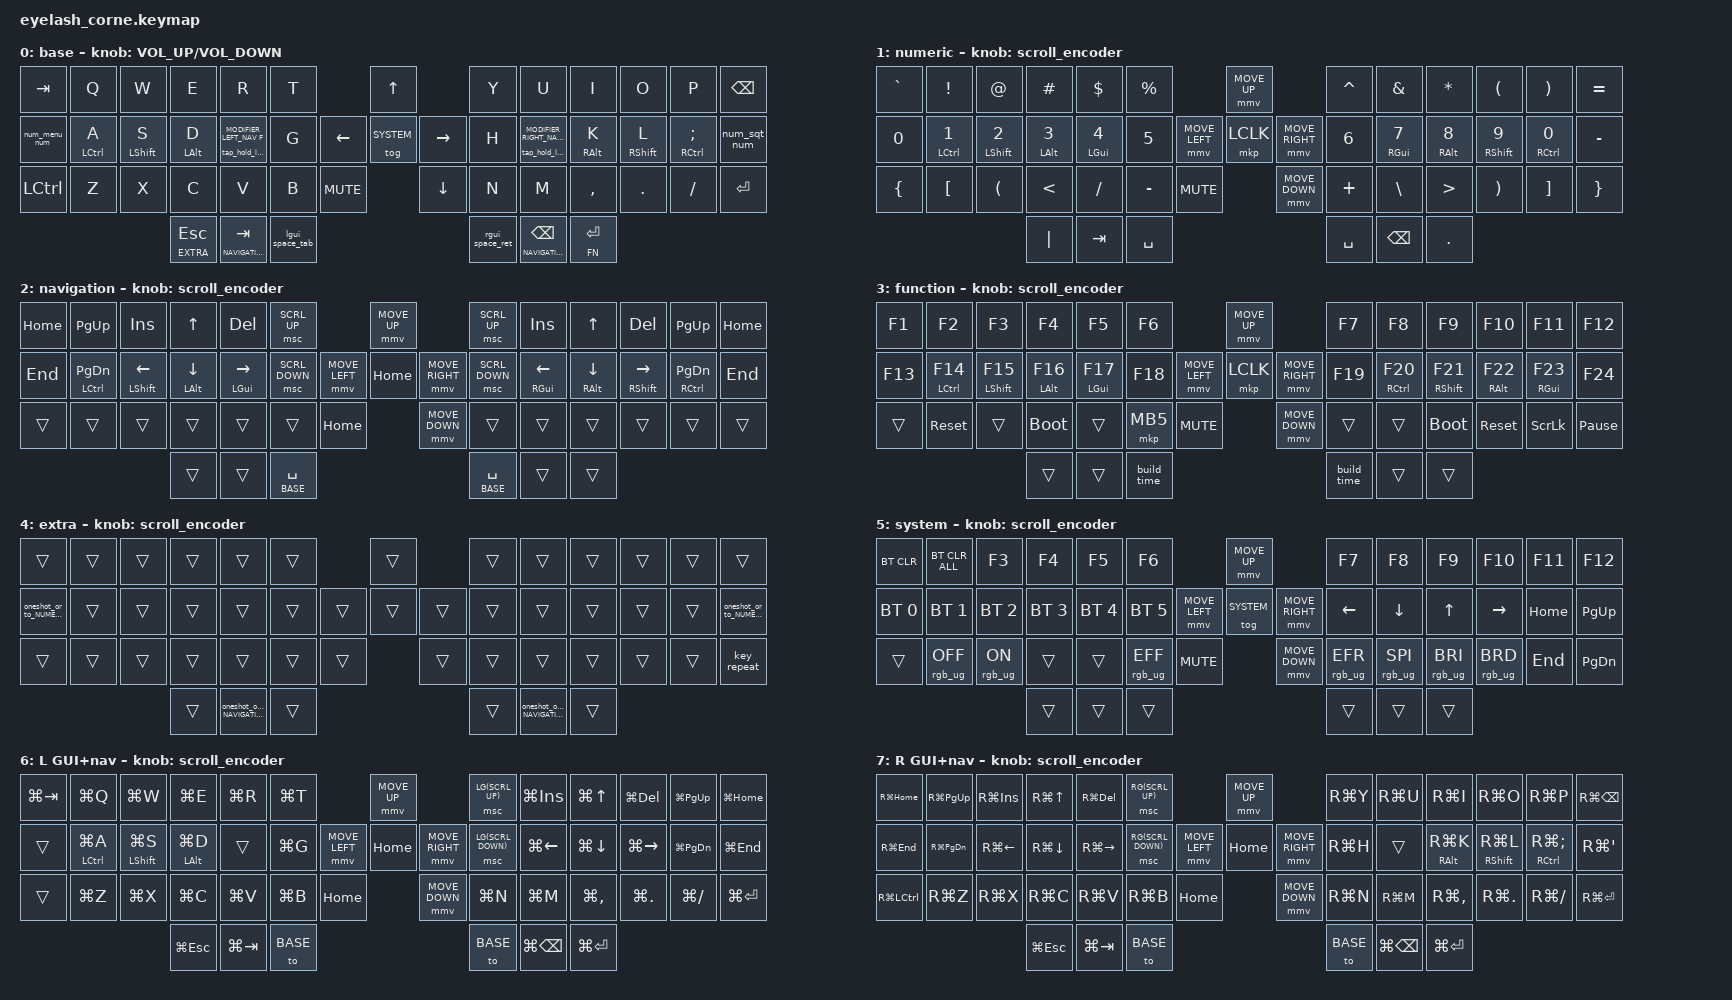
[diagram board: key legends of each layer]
/*

TODO:

* investigate leader-key use

* try finessing timings for tap/hold/doubletap to see if it can be made non-annoying

* make layer switch combos toggle between base and the other layer?

* holding backspace for repeating (backspaces) doesn't work

* how to specify actions for turning the encoder on a particular layer

* how to specify bluetooth-related functionality

* how to specify underglow-related functionality

* how to illuminate the RGB LED for a specific key

* can i rearrange the layer definitions to remove the encoder and d-pad from their current positions and place them underneath? (it's confusing to have them in the middle)

key numbers

 0  1  2  3  4  5          6       7  8  9 10 11 12
13 14 15 16 17 18      19 20 21   22 23 24 25 26 27
28 29 30 31 32 33   34    35      36 37 38 39 40 41
         42 43 44                 45 46 47


 0  1  2  3  4  5          6       7  8  9 10 11 12
    q  w  e  r  t                  y  u  i  o  p  '

13 14 15 16 17 18      19 20 21   22 23 24 25 26 27
    a  s  d  f  g                  h  j  k  l  ;  '

28 29 30 31 32 33   34    35      36 37 38 39 40 41
    z  x  c  v  b                  n  m  ,  .  /

         42 43 44                 45 46 47

*/

#include <behaviors.dtsi>
#include <dt-bindings/zmk/bt.h>
#include <dt-bindings/zmk/keys.h>
#include <dt-bindings/zmk/mouse.h>
#include <dt-bindings/zmk/outputs.h>
#include <dt-bindings/zmk/rgb.h>

// No need for tap-hold-layer header with specialized behaviors


#include <input/processors.dtsi>

#define BASE 0
#define NUMERIC 1
#define NAVIGATION 2
#define FN 3
#define EXTRA 4
#define SYSTEM 5
#define MODIFIER_LEFT_NAV 6
#define MODIFIER_RIGHT_NAV 7

// short versions for helping things line up
#define NUM NUMERIC
#define NAV NAVIGATION
#define LGUI_NAV_L MODIFIER_LEFT_NAV
#define RGUI_NAV_R MODIFIER_RIGHT_NAV
#define MENU K_APPLICATION


#define HRM_TIMEOUT 400
#define TAP_TIMEOUT 50
#define FAST_TAP 230		// at 200, the double tap actions do not reliably trigger
#define INTERRUPT_TAP 50        // very short window, for interrupting tap dance
#define CHORD_TIMEOUT 50
#define LONG_PAUSE 600		// e.g. before certain combos. 800 is too long

/*

   &mmv_input_listener {
       input-processors = <&zip_xy_scaler 2 1>;
   };

   &msc_input_listener {
       input-processors = <&zip_xy_scaler 2 1>;
   };

 */

#define ZMK_MOUSE_DEFAULT_MOVE_VAL 1200  // 600
#define ZMK_MOUSE_DEFAULT_SCRL_VAL 20    // 10

#include "build_info.dtsi"
//#include "tap-hold-layer.dtsi"

&lt {
    tapping-term-ms = <150>;
    quick-tap-ms = <150>;
    flavor = "tap-preferred";
};

/ {
  macros {
      #include "layer-mod-macros.dtsi"
      #include "emoji.dtsi"
  };
};




/ {
    behaviors {

        hm: homerow_mods {
            compatible = "zmk,behavior-hold-tap";
	    #binding-cells = <2>;
 	    tapping-term-ms = <280>; // 200 is too low
	    quick-tap-ms = <175>;
	    require-prior-idle-ms = <150>; // 100 is too low
	    flavor = "balanced";
	    bindings = <&kp>, <&kp>;
	};

	#include "tap-hold-layer-behaviors.dtsi"
	#include "modifier-tap-doubletap-behaviors.dtsi"

	// hold LGUI, tap for space, double tap for tab
        lgui_space_tab: lgui_space_tab {
            compatible = "zmk,behavior-tap-dance";
            label = "LGUI_SPACE_TAB";
            #binding-cells = <0>;
            tapping-term-ms = <FAST_TAP>;
            bindings = <&ht_mod_kp LGUI SPACE>, <&kp TAB>;
        };

	// hold RGUI, tap for space, double tap for return
        rgui_space_ret: rgui_space_ret {
            compatible = "zmk,behavior-tap-dance";
            label = "RGUI_SPACE_RET";
            #binding-cells = <0>;
            tapping-term-ms = <FAST_TAP>;
            bindings = <&ht_mod_kp RGUI SPACE>, <&kp RET>;
        };

        lt_simple: lt_simple {
            compatible = "zmk,behavior-hold-tap";
            #binding-cells = <2>;
            tapping-term-ms = <120>; // 200 too long
            quick-tap-ms = <175>;
            require-prior-idle-ms = <100>;
            flavor = "balanced";
            bindings = <&mo>, <&kp>;
        };
        LTS: LTS { // alias for lt_simple but it would be great if there were a better way to define it as such.
            compatible = "zmk,behavior-hold-tap";
            #binding-cells = <2>;
            tapping-term-ms = <200>;
            quick-tap-ms = <175>;
            require-prior-idle-ms = <100>;
            flavor = "balanced";
            bindings = <&mo>, <&kp>;
        };

        num_menu_num: num_menu_num {
            compatible = "zmk,behavior-tap-dance";
            #binding-cells = <0>;
            tapping-term-ms = <200>;
            bindings = <&lt_simple NUMERIC MENU>, <&sl NUMERIC>;
        };

        num_sqt_num: num_sqt_num {
            compatible = "zmk,behavior-tap-dance";
            #binding-cells = <0>;
            tapping-term-ms = <200>;             // Reduced from 250
            bindings = <&lt_simple NUMERIC SQT>, <&sl NUMERIC>;
        };

        // Alternative: Use hold-tap with global-quick-tap for even faster response
        lt_global_quick: lt_global_quick {
            compatible = "zmk,behavior-hold-tap";
            #binding-cells = <2>;
            tapping-term-ms = <120>;
            quick-tap-ms = <120>;
            global-quick-tap;                    // Any key press triggers quick-tap
            flavor = "tap-preferred";
            bindings = <&mo>, <&kp>;
        };
    };

/* incomplete definition but should have basics for changing underglow while momentarily in a layer.
   ideally would save/restore preexisting underglow color.
   
    mo_rgb: mo_rgb {
        wait-ms = <0>;
 	tap-ms = <0>;
	bindings
	    = <&macro_press &mo 1>
	        , <&macro_tap &rgb_ug RGB_COLOR_HSB(128,100,100)>
		, <&macro_pause_for_release>
		, <&macro_release &mo 1>
		, <&macro_tap &rgb_ug RGB_COLOR_HSB(300,100,50)>
	;
    ;

   there should also be a way of entering emoji via macros here. check https://zmk.dev/docs/keymaps/behaviors/macros

*/

    /* Using tap_hold_layer_lgui directly in the keymap instead of a custom f_key behavior */

    rgb_encoder: rgb_encoder {
        compatible = "zmk,behavior-sensor-rotate";
        #sensor-binding-cells = <0>;
        bindings = <&rgb_ug RGB_BRI>, <&rgb_ug RGB_BRD>;
    };

    scroll_encoder: scroll_encoder {
        compatible = "zmk,behavior-sensor-rotate";
        #sensor-binding-cells = <0>;
        bindings = <&msc SCRL_DOWN>, <&msc SCRL_UP>;
        tap-ms = <30>;
    };


// TODO: add helpers to make this easier to read/set up/verify
    combos {
        compatible = "zmk,combos";
        
        // bootloader with far left column
        combo_bootloader_left {
                timeout-ms = <CHORD_TIMEOUT>;
                key-positions = <0 13 28>;
                bindings = <&bootloader>;
		require-prior-idle-ms = <LONG_PAUSE>;
        };
        // bootloader with far right column
        combo_bootloader_right {
                timeout-ms = <CHORD_TIMEOUT>;
                key-positions = <12 27 41>;
                bindings = <&bootloader>;
		require-prior-idle-ms = <LONG_PAUSE>;
        };


        // ESC with tab+q
        combo_esc {
            timeout-ms = <CHORD_TIMEOUT>;
            key-positions = <0 1>;
            bindings = <&kp ESC>;
 	    require-prior-idle-ms = <LONG_PAUSE>;
        };

	// numeric with outer middle row keys: caps and comma
        combo_numeric {
            timeout-ms = <CHORD_TIMEOUT>;
            key-positions = <13 27>;
            bindings = <&to NUMERIC>;
	    require-prior-idle-ms = <LONG_PAUSE>;
        };

	// navigation with second thumb keys
        combo_nav {
            timeout-ms = <CHORD_TIMEOUT>;
            key-positions = <43 46>;
            bindings = <&to NAVIGATION>;
	    require-prior-idle-ms = <LONG_PAUSE>;
        };

	// base layer with inner thumb keys
        combo_base {
            timeout-ms = <CHORD_TIMEOUT>;
            key-positions = <44 45>;
            bindings = <&to BASE>;
	    require-prior-idle-ms = <LONG_PAUSE>;
        };

	// --------------------------------------------------------------------------------
	// ONE-SHOT MODIFIERS


        // One-shot modifiers with dual key presses
        oneshot_ctrl {
            timeout-ms = <CHORD_TIMEOUT>;
            key-positions = <14 26>;
            bindings = <&sk LCTRL>;
	    require-prior-idle-ms = <LONG_PAUSE>;
        };

        oneshot_alt {
            timeout-ms = <CHORD_TIMEOUT>;
            key-positions = <16 24>;
            bindings = <&sk LALT>;
	    require-prior-idle-ms = <LONG_PAUSE>;
        };

        oneshot_gui {
            timeout-ms = <CHORD_TIMEOUT>;
            key-positions = <17 23>;  // todo: change this to thumb keys
            bindings = <&sk LGUI>;
	    require-prior-idle-ms = <LONG_PAUSE>;
        };

        // Caps word with s+l
        combo_caps_word {
            timeout-ms = <CHORD_TIMEOUT>;
            key-positions = <15 25>;
            bindings = <&caps_word>;
	    require-prior-idle-ms = <LONG_PAUSE>;
        };

        // Print screen (which i use for screenshot) — lower left two keys
        combo_print {
            timeout-ms = <CHORD_TIMEOUT>;
            key-positions = <28 29>;
            bindings = <&kp PRINTSCREEN>;
	    require-prior-idle-ms = <LONG_PAUSE>;
        };
    };

    keymap {
        compatible = "zmk,keymap";

        base_layer {
            display-name = "base";
            bindings = <

&kp TAB       &kp Q        &kp W         &kp E       &kp R                              &kp T			     &kp UP                  &kp Y  &kp U                              &kp I       &kp O         &kp P           &kp BSPC
&num_menu_num  &hm LCTRL A  &hm LSHIFT S  &hm LALT D  &tap_hold_layer_lgui LGUI_NAV_L F  &kp G              &kp LEFT  &tog SYSTEM  &kp RIGHT  &kp H  &tap_hold_layer_rgui RGUI_NAV_R J  &hm RALT K  &hm RSHIFT L  &hm RCTRL SEMI  &num_sqt_num
&kp LCTRL     &kp Z        &kp X         &kp C   &kp V                                  &kp B   &kp C_MUTE           &kp DOWN                &kp N  &kp M                              &kp COMMA   &kp DOT       &kp FSLH        &kp RET
                                                         &LTS EXTRA ESC  &LTS NAV TAB  &lgui_space_tab                &rgui_space_ret     &LTS NAV BSPC    &LTS FN RETURN
             >;
            sensor-bindings = <&inc_dec_kp C_VOLUME_UP C_VOLUME_DOWN>;
        };

        numeric_layer {
            display-name = "numeric";
            bindings = <
&kp GRAVE      &kp EXCL         &kp AT               &kp HASH      &kp DOLLAR   &kp PERCENT                            &mmv MOVE_UP                   &kp CARET &kp AMPS      &kp ASTERISK     &kp LPAR              &kp RPAR            &kp EQUAL
&kp N0         &hm LCTRL N1     &hm LSHIFT N2        &hm LALT N3   &hm LGUI N4  &kp N5                  &mmv MOVE_LEFT &mkp LCLK      &mmv MOVE_RIGHT &kp N6    &hm RGUI N7   &hm RALT N8      &hm RSHIFT N9         &hm RCTRL N0              &kp MINUS
//&trans &trans &trans &trans &trans &trans        &trans &trans &trans    &trans &trans &trans  &trans &hm RCTRL N0  &kp MINUS
&kp LEFT_BRACE &kp LEFT_BRACKET &kp LEFT_PARENTHESIS &kp LESS_THAN &kp SLASH    &kp MINUS    &kp C_MUTE                &mmv MOVE_DOWN                 &kp PLUS  &kp BACKSLASH &kp GREATER_THAN &kp RIGHT_PARENTHESIS &kp RIGHT_BRACKET   &kp RIGHT_BRACE
                                                     &kp PIPE      &kp TAB      &kp SPACE                                                             &kp SPACE &kp BACKSPACE &kp PERIOD
            >;
            sensor-bindings = <&scroll_encoder>;
        };

        navigation_layer {
            display-name = "navigation";
            bindings = <
&kp HOME  &kp PG_UP        &kp INSERT             &kp UP_ARROW         &kp DELETE            &msc SCRL_UP                             &mmv MOVE_UP                   &msc SCRL_UP    &kp INSERT            &kp UP_ARROW         &kp DELETE              &kp PG_UP         &kp HOME
&kp END   &hm LCTRL PG_DN  &hm LSHIFT LEFT_ARROW  &hm LALT DOWN_ARROW  &hm LGUI RIGHT_ARROW  &msc SCRL_DOWN            &mmv MOVE_LEFT &kp HOME      &mmv MOVE_RIGHT  &msc SCRL_DOWN  &hm RGUI LEFT_ARROW   &hm RALT DOWN_ARROW  &hm RSHIFT RIGHT_ARROW  &hm RCTRL PG_DN   &kp END
&trans    &trans           &trans                 &trans               &trans                &trans          &kp HOME                 &mmv MOVE_DOWN                 &trans            &trans         &trans         &trans          &trans      &trans
                                                  &trans               &trans                &LTS BASE SPACE                                                          &LTS BASE SPACE   &trans         &trans
            >;
            sensor-bindings = <&scroll_encoder>;
        };

        function_layer {
            display-name = "function";
            bindings = <
&kp F1   &kp F2         &kp F3          &kp F4        &kp F5        &kp F6                           &mmv MOVE_UP                     &kp F7   &kp F8         &kp F9          &kp F10       &kp F11         &kp F12
&kp F13  &hm LCTRL F14  &hm LSHIFT F15  &hm LALT F16  &hm LGUI F17  &kp F18          &mmv MOVE_LEFT  &mkp LCLK       &mmv MOVE_RIGHT  &kp F19  &hm RCTRL F20  &hm RSHIFT F21  &hm RALT F22  &hm RGUI F23    &kp F24
&trans   &sys_reset     &trans          &bootloader   &trans        &mkp MB5  &kp C_MUTE             &mmv MOVE_DOWN                   &trans   &trans         &bootloader     &sys_reset    &kp SCROLLLOCK  &kp PAUSE_BREAK
                                                    &trans  &trans  &build_time                                                       &build_time  &trans  &trans
            >;
            sensor-bindings = <&scroll_encoder>;
        };


/* todo: single tap is one shot layer change, double is &to new layer*/
        extra_layer {
            display-name = "extra";
            bindings = <
&trans &trans &trans &trans &trans &trans                 &trans          &trans &trans &trans &trans &trans &trans 
&oneshot_or_to_NUMERIC &trans &trans &trans &trans &trans          &trans &trans &trans   &trans &trans &trans &trans &trans &oneshot_or_to_NUMERIC
&trans &trans &trans &trans &trans &trans   &trans        &trans          &trans &trans &trans &trans &trans &key_repeat
                     &trans &oneshot_or_to_NAVIGATION &trans  		  &trans &oneshot_or_to_NAVIGATION &trans
            >;
            sensor-bindings = <&scroll_encoder>;
        };

        system_layer {
            display-name = "system";
            bindings = <
&bt BT_CLR       &bt BT_CLR_ALL  &kp F3        &kp F4        &kp F5        &kp F6                                      &mmv MOVE_UP                     &kp F7           &kp F8           &kp F9           &kp F10          &kp F11   &kp F12
&bt BT_SEL 0     &bt BT_SEL 1    &bt BT_SEL 2  &bt BT_SEL 3  &bt BT_SEL 4  &bt BT_SEL 5                &mmv MOVE_LEFT  &tog SYSTEM     &mmv MOVE_RIGHT  &kp LEFT         &kp DOWN         &kp UP           &kp RIGHT        &kp HOME  &kp PG_UP
&trans           &rgb_ug RGB_OFF &rgb_ug RGB_ON  &trans        &trans            &rgb_ug RGB_EFF  &kp C_MUTE                 &mmv MOVE_DOWN                   &rgb_ug RGB_EFR  &rgb_ug RGB_SPI  &rgb_ug RGB_BRI  &rgb_ug RGB_BRD  &kp END   &kp PG_DN
                                           &trans        &trans            &trans                                                                       &trans           &trans           &trans
            >;
            sensor-bindings = <&scroll_encoder>;
        };


        mod_l_nav_layer {
            display-name = "L GUI+nav";
            bindings = <
&kp LG(TAB)  &kp LG(Q)        &kp LG(W)         &kp LG(E)       &kp LG(R)    &kp LG(T)                             &mmv MOVE_UP                     &msc LG(SCRL_UP)    &kp LG(INSERT)      &kp LG(UP_ARROW)    &kp LG(DELETE)       &kp LG(PG_UP)  &kp LG(HOME)
&trans       &hm LCTRL LG(A)  &hm LSHIFT LG(S)  &hm LALT LG(D)  &trans       &kp LG(G)              &mmv MOVE_LEFT &kp HOME        &mmv MOVE_RIGHT  &msc LG(SCRL_DOWN)  &kp LG(LEFT_ARROW)  &kp LG(DOWN_ARROW)  &kp LG(RIGHT_ARROW)  &kp LG(PG_DN)  &kp LG(END)
&trans       &kp LG(Z)        &kp LG(X)         &kp LG(C)       &kp LG(V)    &kp LG(B)    &kp HOME                 &mmv MOVE_DOWN                   &kp LG(N)           &kp LG(M)           &kp LG(COMMA)       &kp LG(DOT)          &kp LG(FSLH)   &kp LG(RET)
                                                &kp LG(ESC)     &kp LG(TAB)  &to BASE                                                               &to BASE            &kp LG(BSPC)        &kp LG(RET)
            >;
            sensor-bindings = <&scroll_encoder>;
        };


        mod_r_nav_layer {
            display-name = "R GUI+nav";
            bindings = <
&kp RG(HOME)  &kp RG(PG_UP)  &kp RG(INSERT)      &kp RG(UP_ARROW)    &kp RG(DELETE)       &msc RG(SCRL_UP)                              &mmv MOVE_UP                     &kp RG(Y)  &kp RG(U)     &kp RG(I)       &kp RG(O) &kp RG(P) &kp RG(BSPC)
&kp RG(END)   &kp RG(PG_DN)  &kp RG(LEFT_ARROW)  &kp RG(DOWN_ARROW)  &kp RG(RIGHT_ARROW)  &msc RG(SCRL_DOWN)             &mmv MOVE_LEFT &kp HOME        &mmv MOVE_RIGHT  &kp RG(H)  &trans        &hm RALT RG(K)  &hm RSHIFT RG(L)  &hm RCTRL RG(SEMI)  &kp RG(SQT)
&kp RG(LCTRL) &kp RG(Z)      &kp RG(X)           &kp RG(C)	     &kp RG(V)  	  &kp RG(B)            &kp HOME                 &mmv MOVE_DOWN                   &kp RG(N)  &kp RG(M)     &kp RG(COMMA)   &kp RG(DOT)       &kp RG(FSLH)        &kp RG(RET)
                                                 &kp LG(ESC)         &kp LG(TAB)          &to BASE                                                                       &to BASE   &kp LG(BSPC)  &kp LG(RET)
            >;
            sensor-bindings = <&scroll_encoder>;
        };




/*




        empty_layer {
            display-name = "empty";
            bindings = <
&trans &trans &trans &trans &trans &trans                  &trans          &trans &trans &trans &trans &trans &trans 
&trans &trans &trans &trans &trans &trans           &trans &trans &trans   &trans &trans &trans &trans &trans &trans 
&trans &trans &trans &trans &trans &trans   &trans         &trans          &trans &trans &trans &trans &trans &trans 
                     &trans &trans &trans                                  &trans &trans &trans 
            >;
            sensor-bindings = <&scroll_encoder>;
        };
*/




     }; /* keymap */
};
